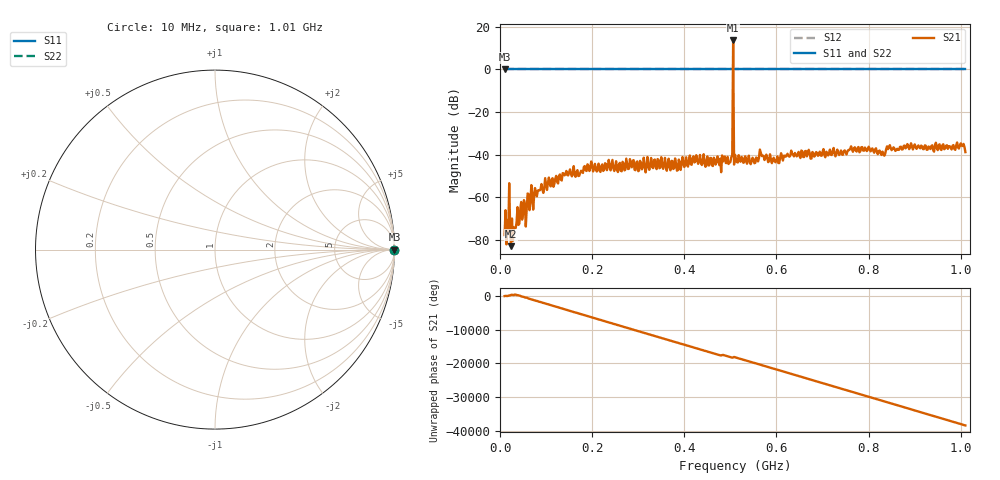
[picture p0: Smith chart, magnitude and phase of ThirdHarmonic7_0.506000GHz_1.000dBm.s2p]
! 8/17/2025 2:35:13 PM
! C:\ANRITSUVNA\TEMP\TEMP.S2P
! CHANNEL.1
! TR.MEASUREMENT
! RAW.DATA
! RF.CORRECTION.OFF
! AVERAGING.OFF
! IF.BANDWIDTH: 5KHZ
! SWEEPTYPE:  FREQ.SWEEP(Linear)
! Reference Plane Port Info
! PORT:  PORT1  PORT2
! DISTANCE:  0  m  0  m
! TIME:  0  s  0  s
! PHASE.OFFSET:  0  deg.  0  deg.
! LOSS:  0  dB  0  dB
! REF.LOSS:  0  dB  0  dB
! REF.FREQ:  0  Hz  0  Hz
! Power Info
! POWER:  -20  dBm  -20  dBm
! EFF.POWER:  -20  dBm  -20  dBm
! SOURCE.ATTEN:  0  dB  0  dB
! TEST.ATTEN:  0  dB  0  dB
# GHZ S RI R 50.0
! FREQ.GHZ  S11RE  S11IM  S21RE  S21IM  S12RE  S12IM  S22RE  S22IM
!; PortSelection: Port_12
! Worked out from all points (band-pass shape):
!   501 points, 10 MHz to 1.01 GHz, reference 50 ohm
!   highest |S21| = 13.48 dB at 506 MHz (marker M1); lowest = -82.9 dB at 24 MHz (marker M2)
!   |S21| within 3 dB of the highest: 505.8885 MHz to 506.1032 MHz (214.7 kHz wide, 0.0424 % of centre)
!   lowest |S11| = 0.0 dB at 10 MHz (marker M3)
!   |S11| at or under -10 dB: nowhere
!   |S22| runs from 0.0 to 0.0 dB; largest |S21 - S12| = 5.6
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0.01  1 0  -0.000119 -5.43e-05  1 0  1 0
0.014  1 0  -2.8e-05 -7.35e-05  1 0  1 0
0.016  1 0  -0.000223 -0.00018  1 0  1 0
0.024  1 0  -7.1e-05 -7.6e-06  1 0  1 0
0.026  1 0  -0.000166 -0.000271  1 0  1 0
0.032  1 0  8.14e-05 -0.000176  1 0  1 0
0.042  1 0  0.00024 -6.1e-06  1 0  1 0
0.052  1 0  0.000406 -0.000753  1 0  1 0
0.064  1 0  -0.000265 0.000423  1 0  1 0
0.102  1 0  0.00131 0.000683  1 0  1 0
0.178  1 0  -0.0039 -0.000741  1 0  1 0
0.344  1 0  0.00732 -0.0018  1 0  1 0
0.5  1 0  -0.00262 -0.00612  1 0  1 0
0.502  1 0  -0.00812 0.00308  1 0  1 0
0.506  1 0  -4.295 1.954  1 0  1 0
0.51  1 0  -0.00934 -0.00322  1 0  1 0
0.512  1 0  -0.00235 0.00768  1 0  1 0
0.678  1 0  0.00682 -0.00924  1 0  1 0
0.766  1 0  0.0114 0.00211  1 0  1 0
0.832  1 0  -0.00603 -0.00849  1 0  1 0
0.844  1 0  -0.00855 0.012  1 0  1 0
1.01  1 0  0.00254 -0.0111  1 0  1 0
